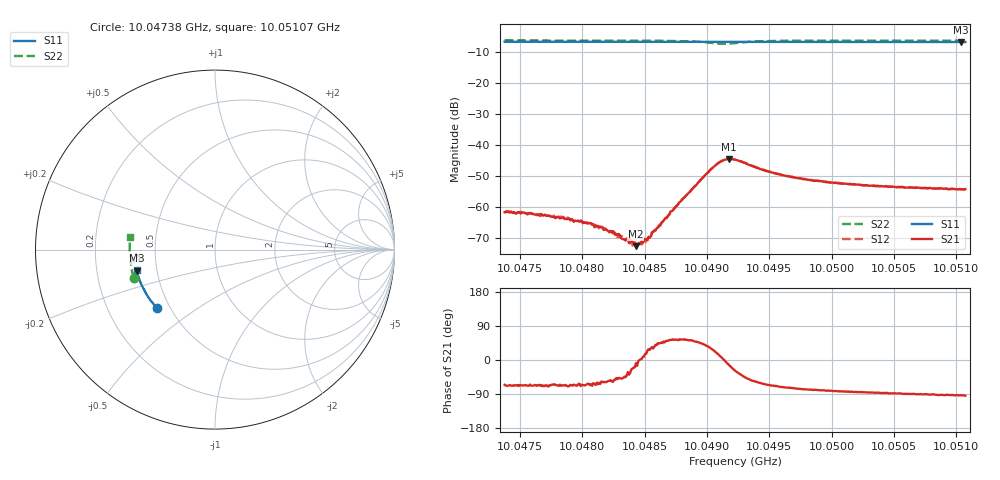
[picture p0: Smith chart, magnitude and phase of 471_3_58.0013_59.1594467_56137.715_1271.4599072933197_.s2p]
#  HZ  S  RI  R  50.00
! Rohde & Schwarz Vector Network Analyzer
! Rohde-Schwarz,ZNB20-2Port,1311601062101988,3.16
! Created: UTC 3/21/2024, 1:11:23 AM
! freq[Hz]  re:S11  im:S11  re:S21  im:S21  re:S12  im:S12  re:S22  im:S22
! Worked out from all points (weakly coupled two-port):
!   401 points, 10.04738 GHz to 10.05107 GHz, reference 50 ohm
!   highest |S21| = -44.60 dB at 10.04918 GHz (marker M1); lowest = -72.7 dB at 10.04843 GHz (marker M2)
!   lowest |S11| = -6.9 dB at 10.05104 GHz (marker M3), VSWR 2.65, Z = 19.1 - j5.67 ohm
!   |S11| at or under -10 dB: nowhere
!   |S22| runs from -7.5 to -6.4 dB; largest |S21 - S12| = 0.00041
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1.0047377e10  -0.3225 -0.326  0.000339 -0.000746  0.000369 -0.000769  -0.4525 -0.1574
1.004759e10  -0.332 -0.3157  0.000302 -0.000733  0.000331 -0.0007  -0.4566 -0.1435
1.004783e10  -0.3424 -0.3036  0.000246 -0.000615  0.000316 -0.000621  -0.4608 -0.1274
1.0047996e10  -0.3494 -0.2952  0.000249 -0.000537  0.000279 -0.000505  -0.4633 -0.1158
1.0048144e10  -0.3554 -0.2874  0.000216 -0.00043  0.000262 -0.000397  -0.4652 -0.1054
1.0048375e10  -0.3643 -0.2752  0.000201 -0.000162  0.000276 -0.000124  -0.4677 -0.088
1.0048412e10  -0.3659 -0.2731  0.000241 -8.86e-05  0.000247 -7.31e-05  -0.468 -0.0852
1.0048431e10  -0.3665 -0.2721  0.00023 -3.34e-05  0.00024 -6.04e-05  -0.4679 -0.0835
1.0048449e10  -0.3671 -0.271  0.000258 -1.35e-05  0.000258 2.53e-05  -0.4682 -0.0821
1.0048486e10  -0.3686 -0.2691  0.00026 3.76e-05  0.000264 4.6e-05  -0.4683 -0.0792
1.0048532e10  -0.3704 -0.2667  0.00029 0.000157  0.000276 0.000175  -0.4683 -0.0751
1.0048615e10  -0.3733 -0.2619  0.000352 0.000337  0.000344 0.000357  -0.4681 -0.068
1.00488e10  -0.3798 -0.2517  0.000752 0.00104  0.00073 0.00112  -0.4646 -0.0498
1.004904e10  -0.3876 -0.238  0.00365 0.00199  0.00354 0.00221  -0.4369 -0.0294
1.0049114e10  -0.3898 -0.234  0.00535 0.000737  0.00534 0.00104  -0.4225 -0.039
1.0049179e10  -0.3918 -0.2306  0.00571 -0.00143  0.00584 -0.00107  -0.4222 -0.056
1.0049225e10  -0.3934 -0.228  0.00509 -0.00268  0.00527 -0.00238  -0.4302 -0.0644
1.0049558e10  -0.4038 -0.2087  0.00125 -0.0032  0.00141 -0.00313  -0.4692 -0.0422
1.0049844e10  -0.4117 -0.1916  0.000544 -0.00261  0.000687 -0.00261  -0.4747 -0.0168
1.0050463e10  -0.4262 -0.1537  7.92e-05 -0.00211  0.000192 -0.00211  -0.4754 0.0288
1.0051036e10  -0.4365 -0.1179  -9.37e-05 -0.00191  4.41e-06 -0.00193  -0.4711 0.0679
1.0051073e10  -0.4373 -0.1154  -0.000144 -0.00193  -1.43e-05 -0.00188  -0.4708 0.0704
